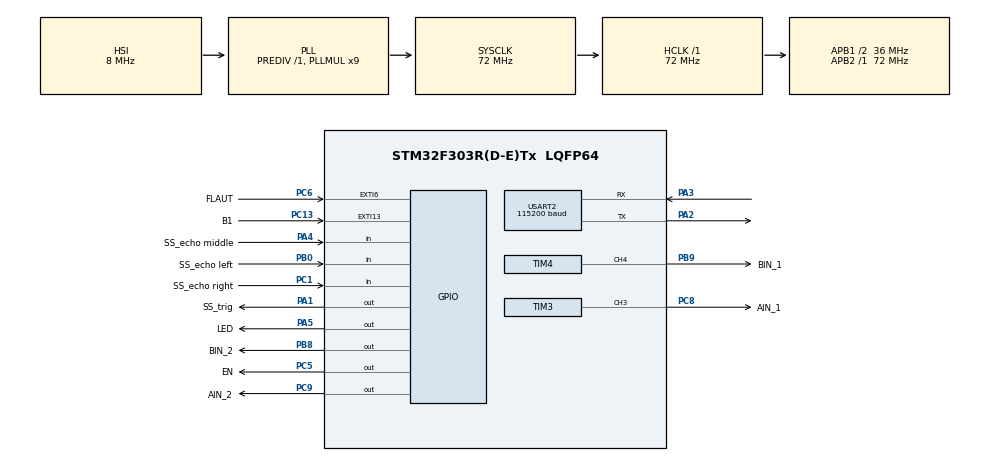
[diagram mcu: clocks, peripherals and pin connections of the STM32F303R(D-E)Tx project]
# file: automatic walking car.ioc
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Mcu.Family=STM32F3
Mcu.Name=STM32F303R(D-E)Tx
Mcu.Package=LQFP64
NVIC.EXTI15_10_IRQn=true\:3\:0\:true\:false\:true\:true\:true
NVIC.EXTI9_5_IRQn=true\:0\:0\:false\:false\:true\:true\:true
NVIC.PriorityGroup=NVIC_PRIORITYGROUP_4
PA1.GPIO_Label=SS_trig
PA1.Signal=GPIO_Output
PA2.Mode=Asynchronous
PA2.Signal=USART2_TX
PA3.Mode=Asynchronous
PA3.Signal=USART2_RX
PA4.GPIO_Label=SS_echo middle
PA4.Signal=GPIO_Input
PA5.GPIO_Label=LED
PA5.Signal=GPIO_Output
PB0.GPIO_Label=SS_echo left
PB0.Signal=GPIO_Input
PB8.GPIO_Label=BIN_2
PB8.Signal=GPIO_Output
PB9.GPIO_Label=BIN_1
PB9.Signal=S_TIM4_CH4
PC1.GPIO_Label=SS_echo right
PC1.Signal=GPIO_Input
PC13.GPIO_Label=B1
PC13.GPIO_ModeDefaultEXTI=GPIO_MODE_IT_RISING
PC13.Signal=GPXTI13
PC5.GPIO_Label=EN
PC5.PinState=GPIO_PIN_RESET
PC5.Signal=GPIO_Output
PC6.GPIO_Label=FLAUT
PC6.Signal=GPXTI6
PC8.GPIO_Label=AIN_1
PC8.Signal=S_TIM3_CH3
PC9.GPIO_Label=AIN_2
PC9.Signal=GPIO_Output
ProjectManager.HeapSize=0x200
ProjectManager.StackSize=0x400
ProjectManager.TargetToolchain=TrueSTUDIO
RCC.AHBFreq_Value=72000000
RCC.APB1CLKDivider=RCC_HCLK_DIV2
RCC.APB1Freq_Value=36000000
RCC.APB1TimFreq_Value=72000000
RCC.APB2Freq_Value=72000000
RCC.APB2TimFreq_Value=72000000
RCC.CortexFreq_Value=72000000
RCC.FLatency=FLASH_LATENCY_2
RCC.HCLKFreq_Value=72000000
RCC.HSE_VALUE=8000000
RCC.HSI_VALUE=8000000
RCC.LSE_VALUE=32768
RCC.PLLMUL=RCC_PLL_MUL9
RCC.SYSCLKFreq_VALUE=72000000
RCC.SYSCLKSourceVirtual=RCC_SYSCLKSOURCE_PLLCLK
RCC.USBFreq_Value=72000000
SH.S_TIM3_CH3.0=TIM3_CH3,PWM Generation3 CH3
SH.S_TIM4_CH4.0=TIM4_CH4,PWM Generation4 CH4
TIM3.Channel-PWM\ Generation3\ CH3=TIM_CHANNEL_3
TIM3.Period=19
TIM3.Prescaler=17999
TIM4.AutoReloadPreload=TIM_AUTORELOAD_PRELOAD_DISABLE
TIM4.Channel-PWM\ Generation4\ CH4=TIM_CHANNEL_4
TIM4.ClearInputSource=TIM_CLEARINPUTSOURCE_NONE
TIM4.ClockDivision=TIM_CLOCKDIVISION_DIV1
TIM4.CounterMode=TIM_COUNTERMODE_UP
TIM4.OCFastMode_PWM-PWM\ Generation4\ CH4=TIM_OCFAST_DISABLE
TIM4.OCMode_PWM-PWM\ Generation4\ CH4=TIM_OCMODE_PWM1
TIM4.OCPolarity_4=TIM_OCPOLARITY_HIGH
TIM4.Period=19
TIM4.Prescaler=17999
TIM4.Pulse-PWM\ Generation4\ CH4=0
TIM4.TIM_MasterOutputTrigger=TIM_TRGO_RESET
TIM4.TIM_MasterSlaveMode=TIM_MASTERSLAVEMODE_DISABLE
USART2.AutoBaudRateEnableParam=UART_ADVFEATURE_AUTOBAUDRATE_DISABLE
USART2.BaudRate=115200
USART2.DMADisableonRxErrorParam=ADVFEATURE_DMA_ENABLEONRXERROR
USART2.DataInvertParam=ADVFEATURE_DATAINV_DISABLE
USART2.MSBFirstParam=ADVFEATURE_MSBFIRST_DISABLE
USART2.Mode=MODE_TX_RX
USART2.OneBitSampling=UART_ONE_BIT_SAMPLE_DISABLE
USART2.OverSampling=UART_OVERSAMPLING_16
USART2.OverrunDisableParam=ADVFEATURE_OVERRUN_ENABLE
USART2.Parity=PARITY_NONE
USART2.RxPinLevelInvertParam=ADVFEATURE_RXINV_DISABLE
USART2.StopBits=STOPBITS_1
USART2.SwapParam=ADVFEATURE_SWAP_DISABLE
USART2.TxPinLevelInvertParam=ADVFEATURE_TXINV_DISABLE
USART2.VirtualMode-Asynchronous=VM_ASYNC
USART2.WordLength=WORDLENGTH_8B
VP_TIM3_VS_ClockSourceINT.Mode=Internal
VP_TIM4_VS_ClockSourceINT.Mode=Internal
board=MUMI001

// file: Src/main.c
/* USER CODE BEGIN Header */
/**
 ******************************************************************************
 * @file           : main.c
 * @brief          : Main program body
 ******************************************************************************
 * @attention
 *
 * <h2><center>&copy; Copyright (c) 2019 STMicroelectronics.
 * All rights reserved.</center></h2>
 *
 * This software component is licensed by ST under BSD 3-Clause license,
 * the "License"; You may not use this file except in compliance with the
 * License. You may obtain a copy of the License at:
 *                        opensource.org/licenses/BSD-3-Clause
 *
 ******************************************************************************
 */
/* USER CODE END Header */

#include "main.h"

/* USER CODE BEGIN Includes */
#include <String.h>
/* USER CODE END Includes */

TIM_HandleTypeDef htim3;
TIM_HandleTypeDef htim4;

UART_HandleTypeDef huart2;

/* USER CODE BEGIN PV */
uint32_t timerM = 0, timerL = 0, timerR = 0;
int deltaM = 0, deltaL = 0, deltaR = 0;
int regL = 0, regR = 0;
char buf[30] = { 0 };
const char M = 'M', L = 'L', R = 'R';
const uint8_t pwmStep = 100;
int n = 0;
/* USER CODE END PV */

void SystemClock_Config(void);
static void MX_GPIO_Init(void);
static void MX_USART2_UART_Init(void);
static void MX_TIM3_Init(void);
static void MX_TIM4_Init(void);

/* USER CODE BEGIN 0 */
uint16_t getTimerCore(GPIO_TypeDef * port, uint16_t pin) {
	uint16_t timer = 0;
	HAL_GPIO_WritePin(SS_trig_GPIO_Port, SS_trig_Pin, GPIO_PIN_SET);
	HAL_Delay(10);
	HAL_GPIO_WritePin(SS_trig_GPIO_Port, SS_trig_Pin, GPIO_PIN_RESET);
	while (!HAL_GPIO_ReadPin(port, pin))
		;
	while (HAL_GPIO_ReadPin(port, pin)) {
		timer++;
	}
	return timer;
}
uint16_t getTimer(char ch) {
	switch (ch) {
	case 'M':
		return getTimerCore(SS_echo_middle_GPIO_Port, SS_echo_middle_Pin);
	case 'L':
		return getTimerCore(SS_echo_left_GPIO_Port, SS_echo_left_Pin);
	case 'R':
		return getTimerCore(SS_echo_right_GPIO_Port, SS_echo_right_Pin);
	default:
		return 0;
	}
}
void setMotor(char ch, int spd) {
	if (spd > pwmStep)
		spd = pwmStep;
	if (spd < -pwmStep)
		spd = -pwmStep;
	switch (ch) {
	case 'L':
		HAL_GPIO_WritePin(AIN_2_GPIO_Port, AIN_2_Pin, (spd <= 0));
		__HAL_TIM_SET_COMPARE(&htim3, TIM_CHANNEL_3,
				((spd + pwmStep) % (pwmStep + 1)));
		regL = spd;
		break;
	case 'R':
		HAL_GPIO_WritePin(BIN_2_GPIO_Port, BIN_2_Pin, (spd <= 0));
		__HAL_TIM_SET_COMPARE(&htim4, TIM_CHANNEL_4,
				((spd + pwmStep) % (pwmStep + 1)));
		regR = spd;
		break;
	}
	return;
}
/* USER CODE END 0 */

int main(void) {

	/* MCU Configuration--------------------------------------------------------*/

	/* Reset of all peripherals, Initializes the Flash interface and the Systick. */
	HAL_Init();

	/* Configure the system clock */
	SystemClock_Config();

	/* Initialize all configured peripherals */
	MX_GPIO_Init();
	MX_USART2_UART_Init();
	MX_TIM3_Init();
	MX_TIM4_Init();
	/* USER CODE BEGIN 2 */
	HAL_TIM_PWM_Start(&htim3, TIM_CHANNEL_3);
	HAL_TIM_PWM_Start(&htim4, TIM_CHANNEL_4);
	timerM = getTimer(M);
	timerL = getTimer(L);
	timerR = getTimer(R);
	setMotor(L, 80);
	setMotor(R, 80);
	/* USER CODE END 2 */

	/* Infinite loop */
	while (1) {
		int speed = 70;
		/* USER CODE BEGIN 3 */
		head: deltaM = getTimer(M) - timerM;
				timerM += deltaM;
				deltaL = getTimer(L) - timerL;
				timerL += deltaL;
				deltaR = getTimer(R) - timerR;
				timerR += deltaR;

				if (timerM >= 4500) {
					HAL_GPIO_WritePin(GPIOA, GPIO_PIN_5, GPIO_PIN_RESET);
					if (timerL < 3000) {
						if (deltaL < -20 && deltaL > -4000) {
							setMotor(L, regL+=16);
							setMotor(R, regR-=16);
							goto head;
						} else if (deltaL > 20 && deltaL < 4000) {
							setMotor(L, regL-=16);
							setMotor(R, regR+=16);
							goto head;
						} else {
							setMotor(L, speed);
							setMotor(R, speed);
							goto head;
						}
					} else if (timerR < 3000) {
						if (deltaR < -20 && deltaR > -4000) {
							setMotor(L, regL-=16);
							setMotor(R, regR+=16);
							goto head;
						} else if (deltaR > 20 && deltaR < 4000) {
							setMotor(L, regL+=16);
							setMotor(R, regR-=16);
							goto head;
						} else {
							setMotor(L, speed);
							setMotor(R, speed);
							goto head;
						}
					} else {
						setMotor(L, speed);
						setMotor(R, speed);
						goto head;
					}
				}else {
					HAL_GPIO_WritePin(GPIOA, GPIO_PIN_5, GPIO_PIN_SET);
					if (timerL >= 3000 && timerL >= timerR ) {
						while(getTimer(M) < 4000){
						setMotor(L, -45-(4000-getTimer(M))/200);
						setMotor(R, 45+(4000-getTimer(M))/200);
						}
						goto head;
					} else if(timerR >= 3000 && timerR >= timerL )  {
						while(getTimer(M) < 4000){
						setMotor(L, 45+(4000-getTimer(M))/200);
						setMotor(R, -45-(4000-getTimer(M))/200);
						}
						goto head;
					}else{
						setMotor(L, 45);
						setMotor(R, 45);
						goto head;
					}
				}
			}
	/* USER CODE END 3 */
}

void SystemClock_Config(void) {
	RCC_OscInitTypeDef RCC_OscInitStruct = { 0 };
	RCC_ClkInitTypeDef RCC_ClkInitStruct = { 0 };
	RCC_PeriphCLKInitTypeDef PeriphClkInit = { 0 };

	/** Initializes the CPU, AHB and APB busses clocks
	 */
	RCC_OscInitStruct.OscillatorType = RCC_OSCILLATORTYPE_HSI;
	RCC_OscInitStruct.HSIState = RCC_HSI_ON;
	RCC_OscInitStruct.HSICalibrationValue = RCC_HSICALIBRATION_DEFAULT;
	RCC_OscInitStruct.PLL.PLLState = RCC_PLL_ON;
	RCC_OscInitStruct.PLL.PLLSource = RCC_PLLSOURCE_HSI;
	RCC_OscInitStruct.PLL.PLLMUL = RCC_PLL_MUL9;
	RCC_OscInitStruct.PLL.PREDIV = RCC_PREDIV_DIV1;
	if (HAL_RCC_OscConfig(&RCC_OscInitStruct) != HAL_OK) {
		Error_Handler();
	}
	/** Initializes the CPU, AHB and APB busses clocks
	 */
	RCC_ClkInitStruct.ClockType = RCC_CLOCKTYPE_HCLK | RCC_CLOCKTYPE_SYSCLK
			| RCC_CLOCKTYPE_PCLK1 | RCC_CLOCKTYPE_PCLK2;
	RCC_ClkInitStruct.SYSCLKSource = RCC_SYSCLKSOURCE_PLLCLK;
	RCC_ClkInitStruct.AHBCLKDivider = RCC_SYSCLK_DIV1;
	RCC_ClkInitStruct.APB1CLKDivider = RCC_HCLK_DIV2;
	RCC_ClkInitStruct.APB2CLKDivider = RCC_HCLK_DIV1;

	if (HAL_RCC_ClockConfig(&RCC_ClkInitStruct, FLASH_LATENCY_2) != HAL_OK) {
		Error_Handler();
	}
	PeriphClkInit.PeriphClockSelection = RCC_PERIPHCLK_USART2
			| RCC_PERIPHCLK_TIM34;
	PeriphClkInit.Usart2ClockSelection = RCC_USART2CLKSOURCE_PCLK1;
	PeriphClkInit.Tim34ClockSelection = RCC_TIM34CLK_HCLK;
	if (HAL_RCCEx_PeriphCLKConfig(&PeriphClkInit) != HAL_OK) {
		Error_Handler();
	}
}

static void MX_TIM3_Init(void) {

	TIM_ClockConfigTypeDef sClockSourceConfig = { 0 };
	TIM_MasterConfigTypeDef sMasterConfig = { 0 };
	TIM_OC_InitTypeDef sConfigOC = { 0 };

	htim3.Instance = TIM3;
	htim3.Init.Prescaler = 17999;
	htim3.Init.CounterMode = TIM_COUNTERMODE_UP;
	htim3.Init.Period = pwmStep - 1;
	htim3.Init.ClockDivision = TIM_CLOCKDIVISION_DIV1;
	htim3.Init.AutoReloadPreload = TIM_AUTORELOAD_PRELOAD_DISABLE;
	if (HAL_TIM_Base_Init(&htim3) != HAL_OK) {
		Error_Handler();
	}
	sClockSourceConfig.ClockSource = TIM_CLOCKSOURCE_INTERNAL;
	if (HAL_TIM_ConfigClockSource(&htim3, &sClockSourceConfig) != HAL_OK) {
		Error_Handler();
	}
	if (HAL_TIM_PWM_Init(&htim3) != HAL_OK) {
		Error_Handler();
	}
	sMasterConfig.MasterOutputTrigger = TIM_TRGO_RESET;
	sMasterConfig.MasterSlaveMode = TIM_MASTERSLAVEMODE_DISABLE;
	if (HAL_TIMEx_MasterConfigSynchronization(&htim3, &sMasterConfig)
			!= HAL_OK) {
		Error_Handler();
	}
	sConfigOC.OCMode = TIM_OCMODE_PWM1;
	sConfigOC.Pulse = 0;
	sConfigOC.OCPolarity = TIM_OCPOLARITY_HIGH;
	sConfigOC.OCFastMode = TIM_OCFAST_DISABLE;
	if (HAL_TIM_PWM_ConfigChannel(&htim3, &sConfigOC, TIM_CHANNEL_3)
			!= HAL_OK) {
		Error_Handler();
	}
	HAL_TIM_MspPostInit(&htim3);

}

static void MX_TIM4_Init(void) {

	TIM_ClockConfigTypeDef sClockSourceConfig = { 0 };
	TIM_MasterConfigTypeDef sMasterConfig = { 0 };
	TIM_OC_InitTypeDef sConfigOC = { 0 };

	htim4.Instance = TIM4;
	htim4.Init.Prescaler = 17999;
	htim4.Init.CounterMode = TIM_COUNTERMODE_UP;
	htim4.Init.Period = pwmStep - 1;
	htim4.Init.ClockDivision = TIM_CLOCKDIVISION_DIV1;
	htim4.Init.AutoReloadPreload = TIM_AUTORELOAD_PRELOAD_DISABLE;
	if (HAL_TIM_Base_Init(&htim4) != HAL_OK) {
		Error_Handler();
	}
	sClockSourceConfig.ClockSource = TIM_CLOCKSOURCE_INTERNAL;
	if (HAL_TIM_ConfigClockSource(&htim4, &sClockSourceConfig) != HAL_OK) {
		Error_Handler();
	}
	if (HAL_TIM_PWM_Init(&htim4) != HAL_OK) {
		Error_Handler();
	}
	sMasterConfig.MasterOutputTrigger = TIM_TRGO_RESET;
	sMasterConfig.MasterSlaveMode = TIM_MASTERSLAVEMODE_DISABLE;
	if (HAL_TIMEx_MasterConfigSynchronization(&htim4, &sMasterConfig)
			!= HAL_OK) {
		Error_Handler();
	}
	sConfigOC.OCMode = TIM_OCMODE_PWM1;
	sConfigOC.Pulse = 0;
	sConfigOC.OCPolarity = TIM_OCPOLARITY_HIGH;
	sConfigOC.OCFastMode = TIM_OCFAST_DISABLE;
	if (HAL_TIM_PWM_ConfigChannel(&htim4, &sConfigOC, TIM_CHANNEL_4)
			!= HAL_OK) {
		Error_Handler();
	}
	HAL_TIM_MspPostInit(&htim4);

}

static void MX_USART2_UART_Init(void) {

	huart2.Instance = USART2;
	huart2.Init.BaudRate = 115200;
	huart2.Init.WordLength = UART_WORDLENGTH_8B;
	huart2.Init.StopBits = UART_STOPBITS_1;
	huart2.Init.Parity = UART_PARITY_NONE;
	huart2.Init.Mode = UART_MODE_TX_RX;
	huart2.Init.HwFlowCtl = UART_HWCONTROL_NONE;
	huart2.Init.OverSampling = UART_OVERSAMPLING_16;
	huart2.Init.OneBitSampling = UART_ONE_BIT_SAMPLE_DISABLE;
	huart2.AdvancedInit.AdvFeatureInit = UART_ADVFEATURE_NO_INIT;
	if (HAL_UART_Init(&huart2) != HAL_OK) {
		Error_Handler();
	}

}

static void MX_GPIO_Init(void) {
	GPIO_InitTypeDef GPIO_InitStruct = { 0 };

	/* GPIO Ports Clock Enable */
	__HAL_RCC_GPIOC_CLK_ENABLE()
	;
	__HAL_RCC_GPIOA_CLK_ENABLE()
	;
	__HAL_RCC_GPIOB_CLK_ENABLE()
	;

	/*Configure GPIO pin Output Level */
	HAL_GPIO_WritePin(GPIOA, SS_trig_Pin | LED_Pin, GPIO_PIN_RESET);

	/*Configure GPIO pin Output Level */
	HAL_GPIO_WritePin(GPIOC, EN_Pin | AIN_2_Pin, GPIO_PIN_RESET);

	/*Configure GPIO pin Output Level */
	HAL_GPIO_WritePin(BIN_2_GPIO_Port, BIN_2_Pin, GPIO_PIN_RESET);

	/*Configure GPIO pins : B1_Pin FLAUT_Pin */
	GPIO_InitStruct.Pin = B1_Pin | FLAUT_Pin;
	GPIO_InitStruct.Mode = GPIO_MODE_IT_RISING;
	GPIO_InitStruct.Pull = GPIO_NOPULL;
	HAL_GPIO_Init(GPIOC, &GPIO_InitStruct);

	/*Configure GPIO pin : SS_echo_right_Pin */
	GPIO_InitStruct.Pin = SS_echo_right_Pin;
	GPIO_InitStruct.Mode = GPIO_MODE_INPUT;
	GPIO_InitStruct.Pull = GPIO_NOPULL;
	HAL_GPIO_Init(SS_echo_right_GPIO_Port, &GPIO_InitStruct);

	/*Configure GPIO pins : SS_trig_Pin LED_Pin */
	GPIO_InitStruct.Pin = SS_trig_Pin | LED_Pin;
	GPIO_InitStruct.Mode = GPIO_MODE_OUTPUT_PP;
	GPIO_InitStruct.Pull = GPIO_NOPULL;
	GPIO_InitStruct.Speed = GPIO_SPEED_FREQ_LOW;
	HAL_GPIO_Init(GPIOA, &GPIO_InitStruct);

	/*Configure GPIO pin : SS_echo_middle_Pin */
	GPIO_InitStruct.Pin = SS_echo_middle_Pin;
	GPIO_InitStruct.Mode = GPIO_MODE_INPUT;
	GPIO_InitStruct.Pull = GPIO_NOPULL;
	HAL_GPIO_Init(SS_echo_middle_GPIO_Port, &GPIO_InitStruct);

	/*Configure GPIO pins : EN_Pin AIN_2_Pin */
	GPIO_InitStruct.Pin = EN_Pin | AIN_2_Pin;
	GPIO_InitStruct.Mode = GPIO_MODE_OUTPUT_PP;
	GPIO_InitStruct.Pull = GPIO_NOPULL;
	GPIO_InitStruct.Speed = GPIO_SPEED_FREQ_LOW;
	HAL_GPIO_Init(GPIOC, &GPIO_InitStruct);

	/*Configure GPIO pin : SS_echo_left_Pin */
	GPIO_InitStruct.Pin = SS_echo_left_Pin;
	GPIO_InitStruct.Mode = GPIO_MODE_INPUT;
	GPIO_InitStruct.Pull = GPIO_NOPULL;
	HAL_GPIO_Init(SS_echo_left_GPIO_Port, &GPIO_InitStruct);

	/*Configure GPIO pin : BIN_2_Pin */
	GPIO_InitStruct.Pin = BIN_2_Pin;
	GPIO_InitStruct.Mode = GPIO_MODE_OUTPUT_PP;
	GPIO_InitStruct.Pull = GPIO_NOPULL;
	GPIO_InitStruct.Speed = GPIO_SPEED_FREQ_LOW;
	HAL_GPIO_Init(BIN_2_GPIO_Port, &GPIO_InitStruct);

	/* EXTI interrupt init*/
	HAL_NVIC_SetPriority(EXTI9_5_IRQn, 0, 0);
	HAL_NVIC_EnableIRQ(EXTI9_5_IRQn);

	HAL_NVIC_SetPriority(EXTI15_10_IRQn, 3, 0);
	HAL_NVIC_EnableIRQ(EXTI15_10_IRQn);

}

/* USER CODE BEGIN 4 */
void HAL_GPIO_EXTI_Callback(uint16_t GPIO_Pin) {
	if (GPIO_Pin == GPIO_PIN_6) {
		HAL_GPIO_WritePin(EN_GPIO_Port, EN_Pin, GPIO_PIN_RESET);
	} else if (GPIO_Pin == GPIO_PIN_13) {
		HAL_GPIO_TogglePin(EN_GPIO_Port, EN_Pin);
	}
}
/* USER CODE END 4 */

void Error_Handler(void) {
}

/************************ (C) COPYRIGHT STMicroelectronics *****END OF FILE****/
